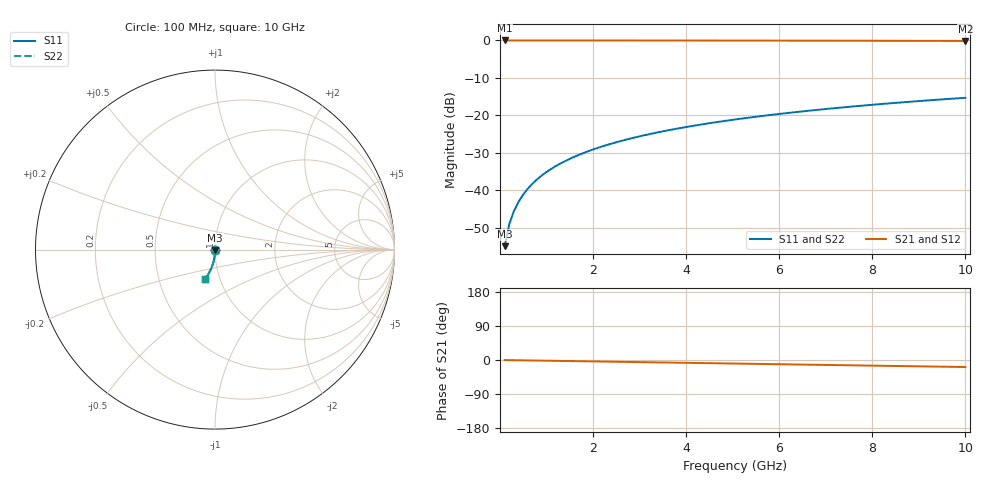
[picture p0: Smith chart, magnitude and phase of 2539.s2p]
# Hz S RI R 50.00
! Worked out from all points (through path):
!   100 points, 100 MHz to 10 GHz, reference 50 ohm
!   highest |S21| = 0.00 dB at 100 MHz (marker M1); lowest = -0.1 dB at 10 GHz (marker M2)
!   group delay of S21, straight-line fit = 5.16 ps
!   lowest |S11| = -55.0 dB at 100 MHz (marker M3), VSWR 1.00, Z = 50 - j0.175 ohm
!   |S11| at or under -10 dB: start of sweep to end of sweep
!   |S22| runs from -55.0 to -15.3 dB; largest |S21 - S12| = 0
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1e8  0.000354 -0.00175  0.9996 -0.00324  0.9996 -0.00324  0.000354 -0.00175
2e8  0.000337 -0.00349  0.9996 -0.00649  0.9996 -0.00649  0.000337 -0.00349
3e8  0.000308 -0.00524  0.9996 -0.00973  0.9996 -0.00973  0.000308 -0.00524
4e8  0.000268 -0.00698  0.9995 -0.013  0.9995 -0.013  0.000268 -0.00698
5e8  0.000216 -0.00873  0.9994 -0.0162  0.9994 -0.0162  0.000216 -0.00873
6e8  0.000152 -0.0105  0.9994 -0.0195  0.9994 -0.0195  0.000152 -0.0105
7e8  7.74e-05 -0.0122  0.9993 -0.0227  0.9993 -0.0227  7.74e-05 -0.0122
8e8  -8.91e-06 -0.014  0.9992 -0.0259  0.9992 -0.0259  -8.91e-06 -0.014
9e8  -0.000107 -0.0157  0.9991 -0.0292  0.9991 -0.0292  -0.000107 -0.0157
1.1e9  -0.000336 -0.0192  0.9988 -0.0357  0.9988 -0.0357  -0.000336 -0.0192
1.4e9  -0.000766 -0.0244  0.9983 -0.0454  0.9983 -0.0454  -0.000766 -0.0244
1.8e9  -0.0015 -0.0314  0.9974 -0.0583  0.9974 -0.0583  -0.0015 -0.0314
2.1e9  -0.00216 -0.0366  0.9966 -0.068  0.9966 -0.068  -0.00216 -0.0366
2.5e9  -0.00321 -0.0435  0.9953 -0.0809  0.9953 -0.0809  -0.00321 -0.0435
2.9e9  -0.00444 -0.0504  0.9938 -0.0938  0.9938 -0.0938  -0.00444 -0.0504
3.4e9  -0.00622 -0.0589  0.9917 -0.1099  0.9917 -0.1099  -0.00622 -0.0589
4.2e9  -0.00965 -0.0725  0.9876 -0.1355  0.9876 -0.1355  -0.00965 -0.0725
5.1e9  -0.0143 -0.0875  0.9819 -0.1641  0.9819 -0.1641  -0.0143 -0.0875
5.9e9  -0.0192 -0.1006  0.976 -0.1892  0.976 -0.1892  -0.0192 -0.1006
6.7e9  -0.0248 -0.1134  0.9693 -0.2141  0.9693 -0.2141  -0.0248 -0.1134
8.4e9  -0.0387 -0.1395  0.9524 -0.266  0.9524 -0.266  -0.0387 -0.1395
1e10  -0.0543 -0.1624  0.9334 -0.3133  0.9334 -0.3133  -0.0543 -0.1624
